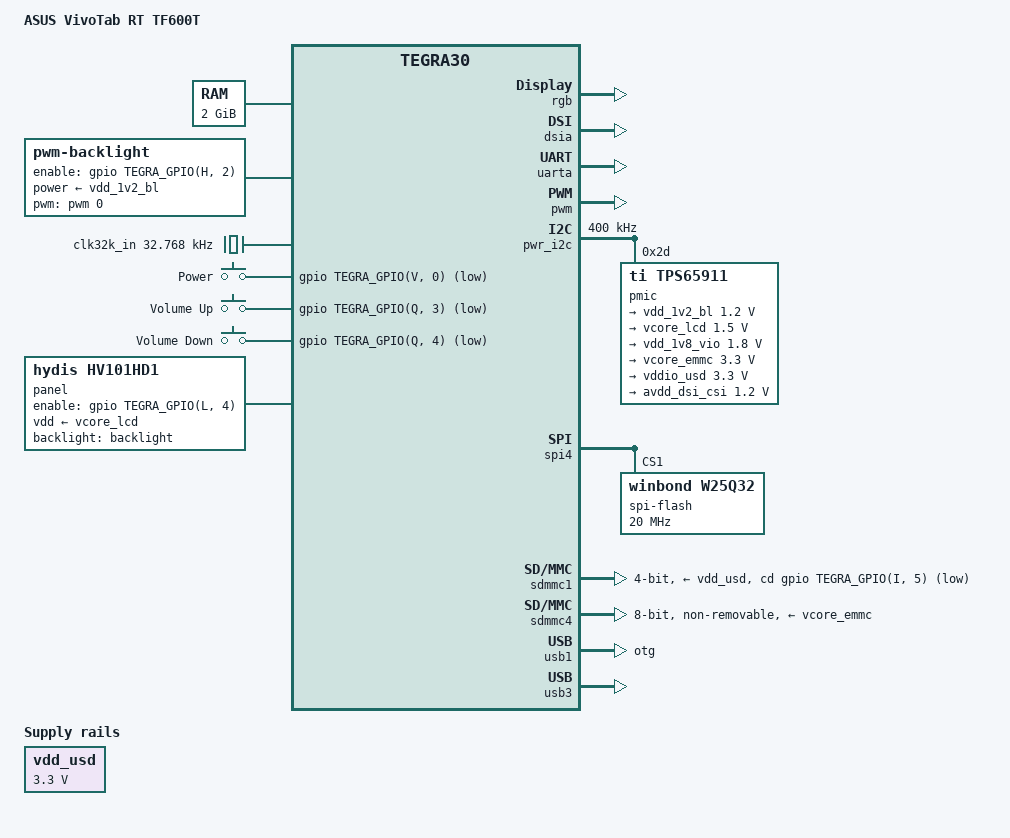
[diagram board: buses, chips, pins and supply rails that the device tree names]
// SPDX-License-Identifier: GPL-2.0
/dts-v1/;

#include <dt-bindings/input/input.h>
#include "tegra30.dtsi"

/ {
	model = "ASUS VivoTab RT TF600T";
	compatible = "asus,tf600t", "nvidia,tegra30";

	chosen {
		stdout-path = &uarta;
	};

	aliases {
		i2c0 = &pwr_i2c;

		mmc0 = &sdmmc4;	/* eMMC */
		mmc1 = &sdmmc1; /* uSD slot */

		rtc0 = &pmic;
		rtc1 = "/rtc@7000e000";

		spi0 = &spi4;

		usb0 = &usb1;
		usb1 = &usb3; /* Dock USB */
	};

	memory {
		device_type = "memory";
		reg = <0x80000000 0x80000000>;
	};

	host1x@50000000 {
		dc@54200000 {
			clocks = <&tegra_car TEGRA30_CLK_DISP1>,
				 <&tegra_car TEGRA30_CLK_PLL_D_OUT0>;

			rgb {
				status = "okay";

				nvidia,panel = <&dsia>;
			};
		};

		dsia: dsi@54300000 {
			status = "okay";

			avdd-dsi-csi-supply = <&avdd_dsi_csi>;

			panel = <&panel>;
		};
	};

	uarta: serial@70006000 {
		status = "okay";
	};

	pwm: pwm@7000a000 {
		status = "okay";
	};

	pwr_i2c: i2c@7000d000 {
		status = "okay";
		clock-frequency = <400000>;

		/* Texas Instruments TPS659110 PMIC */
		pmic: tps65911@2d {
			compatible = "ti,tps65911";
			reg = <0x2d>;

			interrupts = <GIC_SPI 86 IRQ_TYPE_LEVEL_HIGH>;
			#interrupt-cells = <2>;
			interrupt-controller;

			ti,system-power-controller;

			#gpio-cells = <2>;
			gpio-controller;

			regulators {
				vdd_1v2_bl: vdd1 {
					regulator-name = "vdd_1v2_backlight";
					regulator-min-microvolt = <1200000>;
					regulator-max-microvolt = <1200000>;
				};

				vcore_lcd: vdd2 {
					regulator-name = "vcore_lcd";
					regulator-min-microvolt = <1500000>;
					regulator-max-microvolt = <1500000>;
				};

				vdd_1v8_vio: vddio {
					regulator-name = "vdd_1v8_gen";
					regulator-min-microvolt = <1800000>;
					regulator-max-microvolt = <1800000>;
					regulator-always-on;
					regulator-boot-on;
				};

				/* eMMC VDD */
				vcore_emmc: ldo1 {
					regulator-name = "vdd_emmc_core";
					regulator-min-microvolt = <3300000>;
					regulator-max-microvolt = <3300000>;
				};

				/* uSD slot VDDIO */
				vddio_usd: ldo5 {
					regulator-name = "vddio_sdmmc";
					regulator-min-microvolt = <3300000>;
					regulator-max-microvolt = <3300000>;
					regulator-always-on;
				};

				avdd_dsi_csi: ldo6 {
					regulator-name = "avdd_dsi_csi";
					regulator-min-microvolt = <1200000>;
					regulator-max-microvolt = <1200000>;
				};
			};
		};
	};

	spi4: spi@7000da00 {
		status = "okay";
		spi-max-frequency = <25000000>;

		spi-flash@1 {
			compatible = "winbond,w25q32", "jedec,spi-nor";
			reg = <1>;
			spi-max-frequency = <20000000>;
		};
	};

	sdmmc1: sdhci@78000000 {
		status = "okay";
		bus-width = <4>;

		cd-gpios = <&gpio TEGRA_GPIO(I, 5) GPIO_ACTIVE_LOW>;
		power-gpios = <&gpio TEGRA_GPIO(D, 7) GPIO_ACTIVE_HIGH>;

		vmmc-supply = <&vdd_usd>;
		vqmmc-supply = <&vddio_usd>;
	};

	sdmmc4: sdhci@78000600 {
		status = "okay";
		bus-width = <8>;
		non-removable;

		vmmc-supply = <&vcore_emmc>;
		vqmmc-supply = <&vdd_1v8_vio>;
	};

	/* USB via ASUS connector */
	usb1: usb@7d000000 {
		status = "okay";
		dr_mode = "otg";
	};

	/* Dock's USB port */
	usb3: usb@7d008000 {
		status = "okay";
	};

	backlight: backlight {
		compatible = "pwm-backlight";

		enable-gpios = <&gpio TEGRA_GPIO(H, 2) GPIO_ACTIVE_HIGH>;
		power-supply = <&vdd_1v2_bl>;
		pwms = <&pwm 0 71428>;

		brightness-levels = <1 35 70 105 140 175 210 255>;
		default-brightness-level = <5>;
	};

	/* PMIC has a built-in 32KHz oscillator which is used by PMC */
	clk32k_in: clock-32k {
		compatible = "fixed-clock";
		#clock-cells = <0>;
		clock-frequency = <32768>;
		clock-output-names = "pmic-oscillator";
	};

	gpio-keys {
		compatible = "gpio-keys";

		key-power {
			label = "Power";
			gpios = <&gpio TEGRA_GPIO(V, 0) GPIO_ACTIVE_LOW>;
			linux,code = <KEY_ENTER>;
		};

		key-volume-up {
			label = "Volume Up";
			gpios = <&gpio TEGRA_GPIO(Q, 3) GPIO_ACTIVE_LOW>;
			linux,code = <KEY_UP>;
		};

		key-volume-down {
			label = "Volume Down";
			gpios = <&gpio TEGRA_GPIO(Q, 4) GPIO_ACTIVE_LOW>;
			linux,code = <KEY_DOWN>;
		};
	};

	panel: panel {
		compatible = "hydis,hv101hd1";

		vdd-supply = <&vcore_lcd>;
		enable-gpios = <&gpio TEGRA_GPIO(L, 4) GPIO_ACTIVE_HIGH>;

		backlight = <&backlight>;
	};

	vdd_usd: regulator-usd {
		compatible = "regulator-fixed";
		regulator-name = "vdd_usd";
		regulator-min-microvolt = <3300000>;
		regulator-max-microvolt = <3300000>;
	};
};
